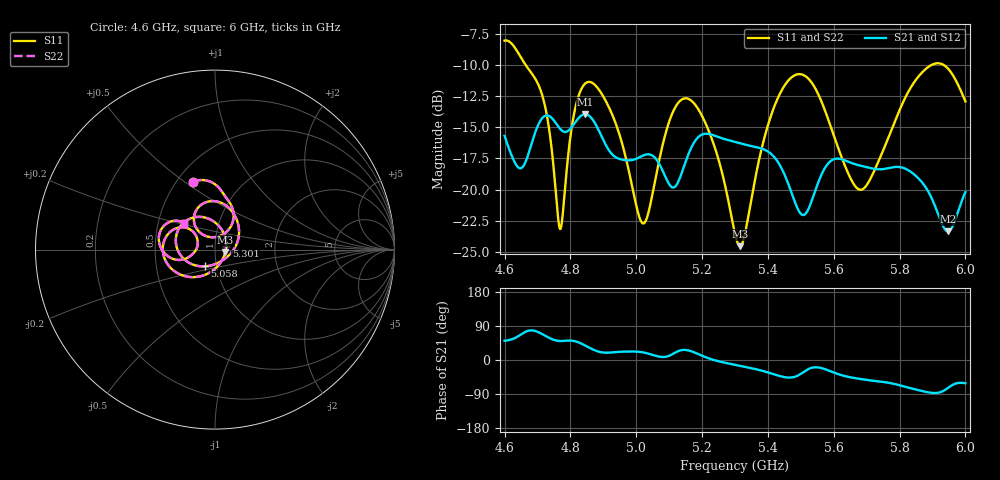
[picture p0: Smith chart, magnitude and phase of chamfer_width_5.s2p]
! TOUCHSTONE file generated by CST MICROWAVE STUDIO
! Date and time: Sun Dec  1 17:26:33 2024
! Project name: test_tuning.cst
! Parameters = {airCoaxOuterDiameter=3; chamferAngle=45; chamferWidth=10; connectorLength=10; drillingHoleDiameter=4.1; feedLength=60; flareDiameter=130; flareLength=70; gratingDistance=0; gratingGap=1.90274; outletLength=30; polarizerLength=134; probe1Diameter=1.3; probe1Distance=14; probe1Length=1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
! Header version: 2024
! Port assignment regex: !\s*Touchstone port\s*([0-9]+)\s*=\s*(CST MWS port|CST DES external port|CST DES block port)\s*(.+)\s* \(\"(.*)\"\)(\s*mode\s*([0-9]+))?.*
! Touchstone port assignment:
! Touchstone port 1 = CST MWS port 1 ("Input1")
! Touchstone port 2 = CST MWS port 2 ("Input2")
# GHz S MA R 50
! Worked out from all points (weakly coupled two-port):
!   1001 points, 4.6 GHz to 6 GHz, reference 50 ohm
!   highest |S21| = -13.95 dB at 4.845 GHz (marker M1); lowest = -23.4 dB at 5.947 GHz (marker M2)
!   lowest |S11| = -24.6 dB at 5.315 GHz (marker M3), VSWR 1.13, Z = 56.1 - j1.66 ohm
!   |S11| at or under -10 dB: 4.664 GHz to 5.896 GHz (1.231 GHz wide, 23.3 % of centre); 5.935 GHz to end of sweep
!   |S22| runs from -24.6 to -8.0 dB; largest |S21 - S12| = 7e-07
!   S11 on the Smith chart (normalised r, x): 4.6 GHz: 0.60, +0.54; 5.058 GHz: 0.88, -0.17; 5.301 GHz: 1.13, +0.04; 6 GHz: 0.68, +0.21
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4.6  0.3969 108.0  0.1645 50.9  0.1645 50.9  0.3969 108.0
4.6504  0.3385 85.2  0.1219 67.7  0.1219 67.7  0.3385 85.2
4.7134  0.2416 65.5  0.1931 68.8  0.1931 68.8  0.2416 65.5
4.768  0.06952 90.8  0.1759 50.1  0.1759 50.1  0.06952 90.8
4.8338  0.2547 110.7  0.1986 43.0  0.1986 43.0  0.2547 110.7
4.845  0.267 102.7  0.2008 38.1  0.2008 38.1  0.267 102.7
4.929  0.1972 50.2  0.1376 20.2  0.1376 20.2  0.1972 50.2
5.0158  0.07401 -47.3  0.136 20.8  0.136 20.8  0.074 -47.3
5.0578  0.1095 -121.5  0.1338 11.4  0.1338 11.4  0.1095 -121.5
5.0676  0.1272 -133.5  0.1284 9.2  0.1284 9.2  0.1272 -133.5
5.1152  0.2102 179.1  0.1021 18.0  0.1021 18.0  0.2102 179.1
5.1698  0.2262 133.7  0.1498 22.3  0.1498 22.3  0.2262 133.7
5.3  0.06643 19.9  0.1555 -12.9  0.1555 -12.9  0.06643 19.9
5.3014  0.06524 17.1  0.1553 -13.1  0.1553 -13.1  0.06524 17.1
5.3154  0.05919 -14.4  0.1535 -15.6  0.1535 -15.6  0.05919 -14.4
5.4288  0.2311 -141.5  0.13 -40.6  0.13 -40.6  0.2311 -141.5
5.5338  0.2682 158.3  0.09072 -20.4  0.09072 -20.4  0.2682 158.3
5.6738  0.1006 163.2  0.1254 -49.1  0.1254 -49.1  0.1006 163.2
5.7676  0.1635 -163.2  0.1221 -60.2  0.1221 -60.2  0.1635 -163.2
5.8614  0.2889 -177.8  0.1095 -80.5  0.1095 -80.5  0.2889 -177.8
5.9468  0.3068 151.9  0.06782 -73.9  0.06782 -73.9  0.3068 151.9
6  0.2261 139.4  0.09778 -61.4  0.09778 -61.4  0.2261 139.4
